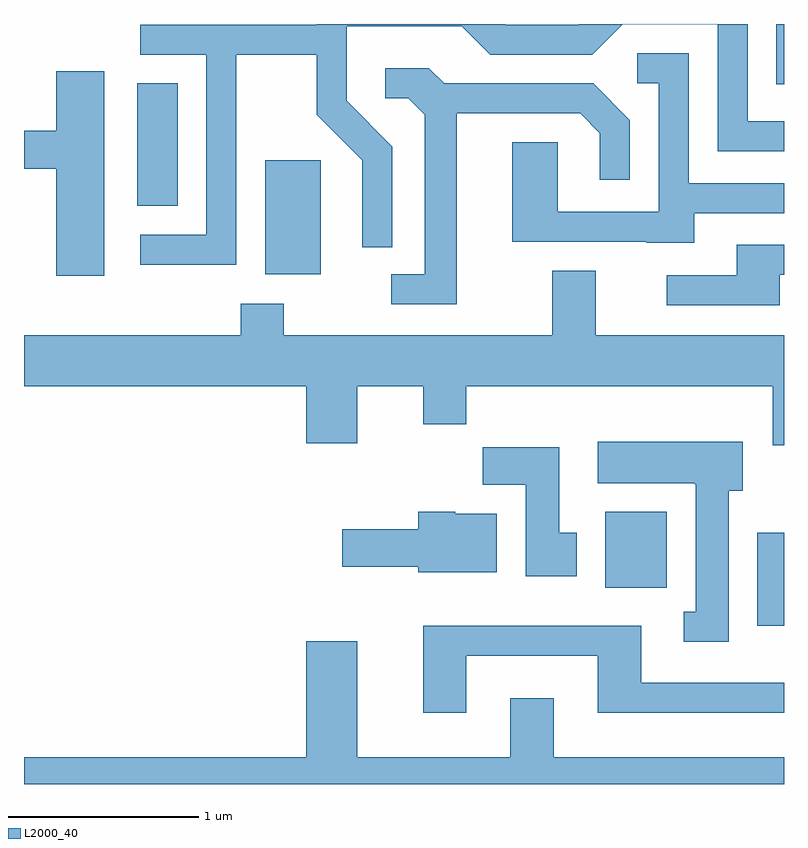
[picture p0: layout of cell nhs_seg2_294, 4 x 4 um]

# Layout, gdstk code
import gdstk
lib = gdstk.Library(unit=1e-6, precision=1e-09)
def R(c, l, rs):  # rectangles x0, y0, x1, y1
    for r in rs: c.add(gdstk.rectangle(r[:2], r[2:], *l))
def P(c, l, *ps):  # polygons
    for p in ps: c.add(gdstk.Polygon(p, *l))
L2000_40 = (2000, 40)

nhs_seg2_294 = lib.new_cell('nhs_seg2_294')
R(nhs_seg2_294, L2000_40, [(197.471,1022.636,197.611,1023.124), (196.671,1022.836,196.994,1023.234), (194.881,1024.486,195.174,1025.084), (194.206,1024.846,194.419,1025.489), (197.571,1025.486,197.611,1025.802)])
P(nhs_seg2_294, L2000_40, [(194.729,1025.641),(195.151,1025.641),(195.151,1025.324),(195.391,1025.084),(195.391,1024.628),(195.549,1024.628),(195.549,1025.157),(195.309,1025.397),(195.309,1025.791),(195.914,1025.791),(196.064,1025.641),(196.602,1025.641),(196.762,1025.801),(197.261,1025.801),(197.261,1025.131),(197.611,1025.131),(197.611,1025.289),(197.419,1025.289),(197.419,1025.802),(196.532,1025.802),(196.529,1025.799),(196.147,1025.799),(196.144,1025.802),(195.151,1025.802),(195.151,1025.799),(194.223,1025.799),(194.223,1025.641),(194.571,1025.641),(194.571,1024.694),(194.223,1024.694),(194.223,1024.536),(194.729,1024.536)],
  [(197.139,1024.806),(197.611,1024.806),(197.611,1024.964),(197.109,1024.964),(197.109,1025.649),(196.838,1025.649),(196.838,1025.491),(196.951,1025.491),(196.951,1024.814),(196.419,1024.814),(196.419,1025.179),(196.181,1025.179),(196.181,1024.656),(196.885,1024.656),(196.885,1024.651),(197.139,1024.651)],
  [(195.889,1025.331),(196.539,1025.331),(196.641,1025.228),(196.641,1024.983),(196.799,1024.983),(196.799,1025.296),(196.607,1025.489),(195.822,1025.489),(195.742,1025.569),(195.513,1025.569),(195.513,1025.411),(195.634,1025.411),(195.721,1025.324),(195.721,1024.484),(195.543,1024.484),(195.543,1024.326),(195.889,1024.326)],
  [(194.034,1025.554),(193.781,1025.554),(193.781,1025.239),(193.611,1025.239),(193.611,1025.041),(193.781,1025.041),(193.781,1024.476),(194.034,1024.476)],
  [(197.589,1024.481),(197.611,1024.481),(197.611,1024.639),(197.361,1024.639),(197.361,1024.479),(196.993,1024.479),(196.993,1024.321),(197.589,1024.321)],
  [(197.611,1024.164),(196.619,1024.164),(196.619,1024.504),(196.391,1024.504),(196.391,1024.164),(194.979,1024.164),(194.979,1024.329),(194.751,1024.329),(194.751,1024.164),(193.611,1024.164),(193.611,1023.896),(195.096,1023.896),(195.096,1023.596),(195.364,1023.596),(195.364,1023.896),(195.711,1023.896),(195.711,1023.696),(195.939,1023.696),(195.939,1023.896),(197.551,1023.896),(197.551,1023.586),(197.611,1023.586)],
  [(197.319,1023.346),(197.394,1023.346),(197.394,1023.604),(196.631,1023.604),(196.631,1023.386),(197.14,1023.386),(197.14,1023.38),(197.146,1023.38),(197.146,1022.709),(197.083,1022.709),(197.083,1022.551),(197.319,1022.551)],
  [(196.519,1023.124),(196.429,1023.124),(196.429,1023.574),(196.026,1023.574),(196.026,1023.376),(196.251,1023.376),(196.251,1022.896),(196.519,1022.896)],
  [(196.099,1023.224),(195.88,1023.224),(195.88,1023.234),(195.686,1023.234),(195.686,1023.144),(195.286,1023.144),(195.286,1022.946),(195.686,1022.946),(195.686,1022.916),(196.099,1022.916)],
  [(195.939,1022.476),(196.631,1022.476),(196.631,1022.176),(197.611,1022.176),(197.611,1022.334),(196.859,1022.334),(196.859,1022.634),(195.711,1022.634),(195.711,1022.176),(195.939,1022.176)],
  [(197.611,1021.944),(196.399,1021.944),(196.399,1022.254),(196.171,1022.254),(196.171,1021.944),(195.364,1021.944),(195.364,1022.554),(195.096,1022.554),(195.096,1021.944),(193.611,1021.944),(193.611,1021.802),(197.611,1021.802)])

lib.write_gds('nhs_seg2_294.gds')
